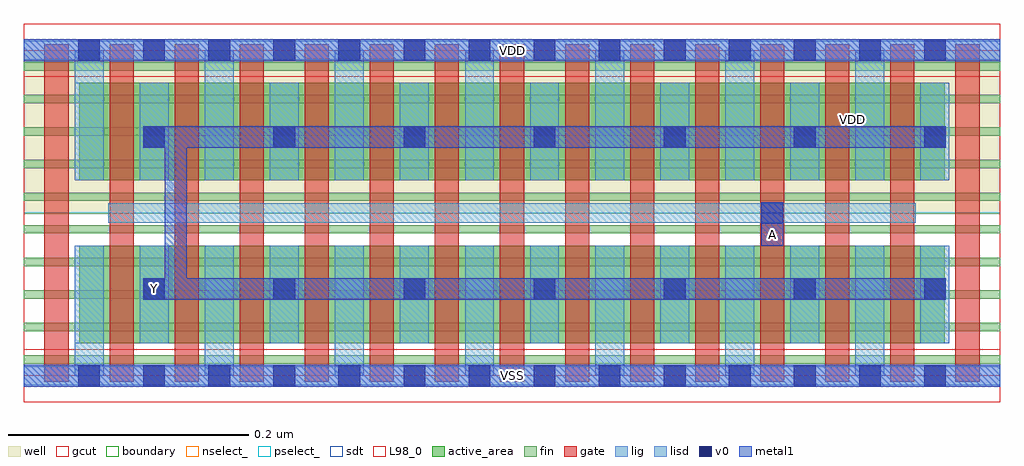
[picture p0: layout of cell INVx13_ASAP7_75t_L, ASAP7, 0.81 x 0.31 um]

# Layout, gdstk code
import gdstk
lib = gdstk.Library(unit=1e-6, precision=2.5e-10)
def R(c, l, rs):  # rectangles x0, y0, x1, y1
    for r in rs: c.add(gdstk.rectangle(r[:2], r[2:], *l))
def A(c, l, x, y, w, h, nx, ny, dx, dy):  # array of equal rectangles
    R(c, l, [(x+i*dx, y+j*dy, x+i*dx+w, y+j*dy+h) for i in range(nx) for j in range(ny)])
def P(c, l, *ps):  # polygons
    for p in ps: c.add(gdstk.Polygon(p, *l))
well = (1, 0)
fin = (2, 0)
gate = (7, 0)
gcut = (10, 0)
active_area = (11, 0)
nselect_ = (12, 0)
pselect_ = (13, 0)
lig = (16, 0)
lisd = (17, 0)
v0 = (18, 0)
metal1 = (19, 0)
sdt = (88, 0)
L98_0 = (98, 0)
boundary = (100, 0)

invx13_asap7_75t_l = lib.new_cell('INVx13_ASAP7_75t_L')
R(invx13_asap7_75t_l, well, [(0,0.135,0.81,0.27)])
A(invx13_asap7_75t_l, fin, 0, 0.01, 0.81, 0.007, 1, 10, 0, 0.027)
A(invx13_asap7_75t_l, gate, 0.017, -0.005, 0.02, 0.28, 15, 1, 0.054, 0)
R(invx13_asap7_75t_l, gcut, [(0,-0.022,0.81,0.022), (0,0.248,0.81,0.292)])
R(invx13_asap7_75t_l, active_area, [(0.046,0.027,0.764,0.108), (0.046,0.162,0.764,0.243)])
R(invx13_asap7_75t_l, nselect_, [(0,0,0.81,0.135)])
R(invx13_asap7_75t_l, pselect_, [(0,0.135,0.81,0.27)])
R(invx13_asap7_75t_l, lig, [(0,-0.008,0.81,0.008), (0.07,0.127,0.74,0.143), (0,0.262,0.81,0.278)])
A(invx13_asap7_75t_l, lisd, 0.042, 0, 0.024, 0.108, 7, 2, 0.108, 0.162)
A(invx13_asap7_75t_l, lisd, 0.096, 0.027, 0.024, 0.081, 7, 2, 0.108, 0.135)
A(invx13_asap7_75t_l, v0, 0.045, -0.009, 0.018, 0.018, 14, 2, 0.054, 0.27)
A(invx13_asap7_75t_l, v0, 0.099, 0.063, 0.018, 0.018, 7, 2, 0.108, 0.126)
R(invx13_asap7_75t_l, v0, [(0.612,0.126,0.63,0.144)])
R(invx13_asap7_75t_l, metal1, [(0,-0.009,0.81,0.009), (0.612,0.108,0.63,0.144), (0,0.261,0.81,0.279)])
P(invx13_asap7_75t_l, metal1, [(0.765,0.207),(0.099,0.207),(0.099,0.189),(0.117,0.189),(0.117,0.081),(0.099,0.081),(0.099,0.063),(0.765,0.063),(0.765,0.081),(0.135,0.081),(0.135,0.189),(0.765,0.189)])
A(invx13_asap7_75t_l, sdt, 0.042, 0.027, 0.024, 0.081, 14, 2, 0.054, 0.135)
R(invx13_asap7_75t_l, L98_0, [(0,0,0.81,0.27)])
R(invx13_asap7_75t_l, boundary, [(0,0,0.81,0.27)])
invx13_asap7_75t_l.add(gdstk.Label('Y', (0.108,0.072), layer=19, texttype=251))
invx13_asap7_75t_l.add(gdstk.Label('A', (0.621,0.117), layer=19, texttype=251))
invx13_asap7_75t_l.add(gdstk.Label('VSS', (0.405,0), layer=19, texttype=251))
invx13_asap7_75t_l.add(gdstk.Label('VDD', (0.405,0.27), layer=19, texttype=251))
invx13_asap7_75t_l.add(gdstk.Label('VDD', (0.688,0.213), layer=1, texttype=251))
invx13_asap7_75t_l.add(gdstk.Label('VSS', (0.931,0.213), layer=3, texttype=251))

lib.write_gds('INVx13_ASAP7_75t_L.gds')
